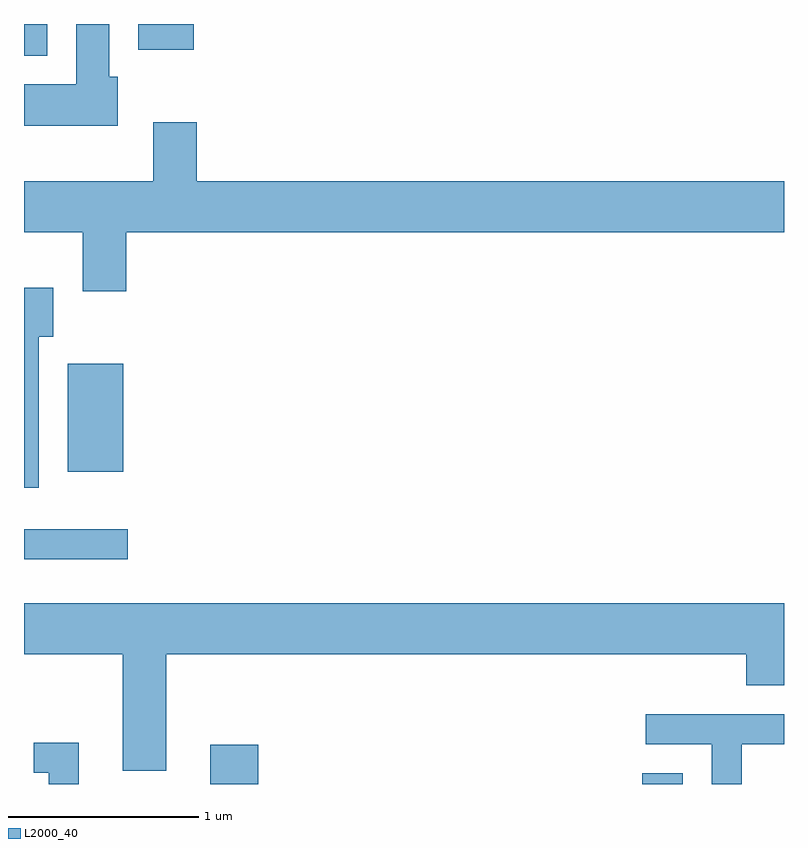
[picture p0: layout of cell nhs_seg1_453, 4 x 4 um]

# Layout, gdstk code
import gdstk
lib = gdstk.Library(unit=1e-6, precision=1e-09)
def R(c, l, rs):  # rectangles x0, y0, x1, y1
    for r in rs: c.add(gdstk.rectangle(r[:2], r[2:], *l))
def P(c, l, *ps):  # polygons
    for p in ps: c.add(gdstk.Polygon(p, *l))
L2000_40 = (2000, 40)

nhs_seg1_453 = lib.new_cell('nhs_seg1_453')
R(nhs_seg1_453, L2000_40, [(198.591,967.712,198.844,967.919), (200.866,967.712,201.079,967.769), (197.611,968.896,198.158,969.054), (197.841,969.356,198.134,969.924), (197.611,971.546,197.734,971.712), (198.211,971.576,198.504,971.712)])
P(nhs_seg1_453, L2000_40, [(198.104,971.434),(198.059,971.434),(198.059,971.712),(197.886,971.712),(197.886,971.394),(197.611,971.394),(197.611,971.176),(198.104,971.176)],
  [(198.149,970.616),(201.611,970.616),(201.611,970.884),(198.519,970.884),(198.519,971.194),(198.291,971.194),(198.291,970.884),(197.611,970.884),(197.611,970.616),(197.921,970.616),(197.921,970.306),(198.149,970.306)],
  [(197.689,970.066),(197.764,970.066),(197.764,970.324),(197.611,970.324),(197.611,969.271),(197.689,969.271)],
  [(198.359,968.396),(201.411,968.396),(201.411,968.231),(201.611,968.231),(201.611,968.664),(197.611,968.664),(197.611,968.396),(198.131,968.396),(198.131,967.781),(198.359,967.781)],
  [(201.389,967.921),(201.611,967.921),(201.611,968.079),(200.883,968.079),(200.883,967.921),(201.231,967.921),(201.231,967.712),(201.389,967.712)],
  [(197.899,967.929),(197.663,967.929),(197.663,967.771),(197.741,967.771),(197.741,967.712),(197.899,967.712)])

lib.write_gds('nhs_seg1_453.gds')
